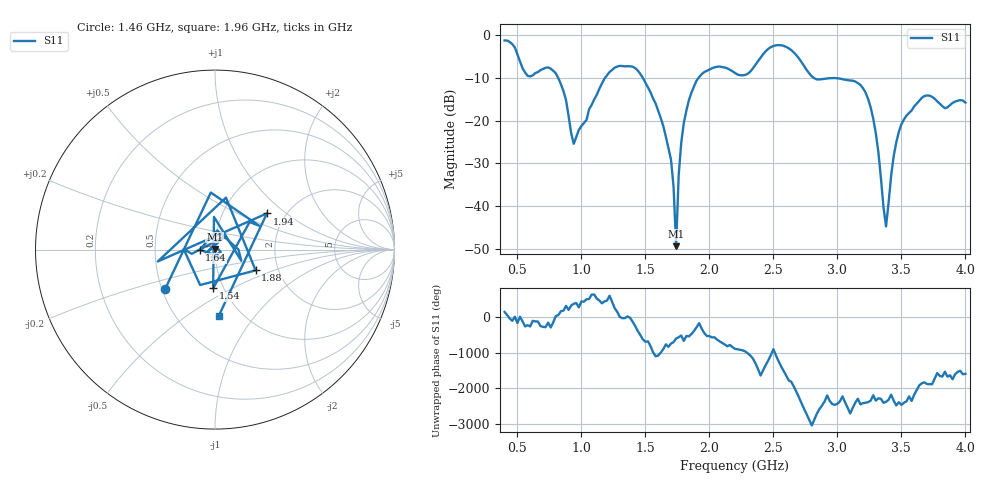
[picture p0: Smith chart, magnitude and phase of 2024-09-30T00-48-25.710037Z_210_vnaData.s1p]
!Created with skrf (http://scikit-rf.org).
# Hz S RI R 50.0
!freq ReS11 ImS11
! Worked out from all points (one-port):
!   181 points, 400 MHz to 4 GHz, reference 50 ohm
!   lowest |S11| = -49.4 dB at 1.74 GHz (marker M1), VSWR 1.01, Z = 49.8 + j0.298 ohm
!   |S11| at or under -10 dB: 819.6 MHz to 1.183 GHz (363.4 MHz wide, 36.3 % of centre); 1.481 GHz to 1.914 GHz (432.7 MHz wide, 25.5 % of centre); 2.988 GHz to end of sweep (the widest 3 of 4)
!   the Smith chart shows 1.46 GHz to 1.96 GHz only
!   S11 on the Smith chart (normalised r, x): 1.46 GHz: 0.52, -0.26; 1.54 GHz: 0.89, -0.40; 1.64 GHz: 0.84, -0.00; 1.88 GHz: 1.53, -0.38; 1.94 GHz: 1.60, +0.74; 1.96 GHz: 0.78, -0.68
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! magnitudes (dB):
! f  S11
! 400 MHz  -1.2
! 580 MHz  -9.5
! 740 MHz  -7.5
! 860 MHz  -13.1
! 940 MHz  -25.4
! 1.3 GHz  -7.1
! 1.46 GHz  -9.0
! 1.54 GHz  -13.3
! 1.64 GHz  -21.3
! 1.7 GHz  -29.1
! 1.72 GHz  -35.5
! 1.74 GHz  -49.4
! 1.76 GHz  -32.8
! 1.8 GHz  -20.5
! 1.88 GHz  -11.9
! 1.94 GHz  -9.1
! 1.96 GHz  -8.6
! 2.2 GHz  -8.8
! 2.66 GHz  -4.0
! 2.82 GHz  -10.0
! 3.1 GHz  -10.6
! 3.26 GHz  -16.9
! 3.32 GHz  -27.3
! 3.38 GHz  -44.8
! 3.46 GHz  -25.1
! 3.56 GHz  -18.2
! 3.7 GHz  -14.1
! 4 GHz  -15.7
